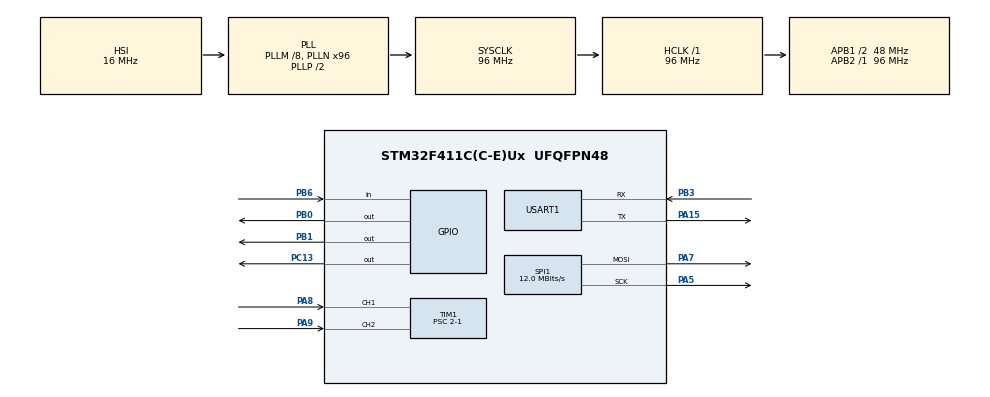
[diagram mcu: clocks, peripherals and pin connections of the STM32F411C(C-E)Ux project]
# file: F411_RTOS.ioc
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FREERTOS.Queues01=TimeQueue,16,32,1,Dynamic,NULL,NULL
FREERTOS.Tasks01=InputTask,40,128,StartInputTask,Default,NULL,Dynamic,NULL,NULL;MenuTask,32,512,StartMenuTask,Default,NULL,Dynamic,NULL,NULL;WIFITask,8,256,StartWIFITask,Default,NULL,Dynamic,NULL,NULL;TimeTask,8,256,StartTimeTask,Default,NULL,Dynamic,NULL,NULL
FREERTOS.configUSE_NEWLIB_REENTRANT=1
Mcu.Family=STM32F4
Mcu.Name=STM32F411C(C-E)Ux
Mcu.Package=UFQFPN48
NVIC.PriorityGroup=NVIC_PRIORITYGROUP_4
NVIC.TIM2_IRQn=true\:15\:0\:false\:false\:true\:false\:false\:true\:true
NVIC.TimeBase=TIM2_IRQn
NVIC.TimeBaseIP=TIM2
NVIC.USART1_IRQn=true\:5\:0\:false\:false\:true\:true\:true\:true\:true
PA13.Mode=Serial_Wire
PA13.Signal=SYS_JTMS-SWDIO
PA14.Mode=Serial_Wire
PA14.Signal=SYS_JTCK-SWCLK
PA15.Mode=Asynchronous
PA15.Signal=USART1_TX
PA5.Mode=TX_Only_Simplex_Unidirect_Master
PA5.Signal=SPI1_SCK
PA7.Mode=TX_Only_Simplex_Unidirect_Master
PA7.Signal=SPI1_MOSI
PA8.GPIO_PuPd=GPIO_PULLUP
PA8.GPIO_Speed=GPIO_SPEED_FREQ_LOW
PA8.Signal=S_TIM1_CH1
PA9.GPIO_PuPd=GPIO_PULLUP
PA9.GPIO_Speed=GPIO_SPEED_FREQ_LOW
PA9.Signal=S_TIM1_CH2
PB0.Signal=GPIO_Output
PB1.Signal=GPIO_Output
PB3.Mode=Asynchronous
PB3.Signal=USART1_RX
PB6.GPIO_PuPd=GPIO_PULLUP
PB6.Signal=GPIO_Input
PC13-ANTI_TAMP.GPIO_ModeDefaultOutputPP=GPIO_MODE_OUTPUT_OD
PC13-ANTI_TAMP.GPIO_PuPd=GPIO_PULLUP
PC13-ANTI_TAMP.PinState=GPIO_PIN_SET
PC13-ANTI_TAMP.Signal=GPIO_Output
PH0\ -\ OSC_IN.Mode=HSE-External-Oscillator
PH0\ -\ OSC_IN.Signal=RCC_OSC_IN
PH1\ -\ OSC_OUT.Mode=HSE-External-Oscillator
PH1\ -\ OSC_OUT.Signal=RCC_OSC_OUT
ProjectManager.HeapSize=0x200
ProjectManager.StackSize=0x400
ProjectManager.TargetToolchain=STM32CubeIDE
RCC.48MHZClocksFreq_Value=48000000
RCC.AHBFreq_Value=96000000
RCC.APB1CLKDivider=RCC_HCLK_DIV2
RCC.APB1Freq_Value=48000000
RCC.APB1TimFreq_Value=96000000
RCC.APB2Freq_Value=96000000
RCC.APB2TimFreq_Value=96000000
RCC.CortexFreq_Value=96000000
RCC.HCLKFreq_Value=96000000
RCC.HSE_VALUE=25000000
RCC.HSI_VALUE=16000000
RCC.LSE_VALUE=32768
RCC.PLLM=8
RCC.PLLN=96
RCC.SYSCLKFreq_VALUE=96000000
RCC.SYSCLKSource=RCC_SYSCLKSOURCE_PLLCLK
RCC.VCOOutputFreq_Value=192000000
SH.S_TIM1_CH1.0=TIM1_CH1,Encoder_Interface
SH.S_TIM1_CH2.0=TIM1_CH2,Encoder_Interface
SPI1.BaudRatePrescaler=SPI_BAUDRATEPRESCALER_8
SPI1.CalculateBaudRate=12.0 MBits/s
SPI1.Direction=SPI_DIRECTION_2LINES
SPI1.Mode=SPI_MODE_MASTER
SPI1.VirtualType=VM_MASTER
TIM1.EncoderMode=TIM_ENCODERMODE_TI1
TIM1.IC1Filter=15
TIM1.IC2Filter=15
TIM1.Prescaler=2-1
TIM1.RepetitionCounter=15
USART1.VirtualMode=VM_ASYNC
VP_FREERTOS_VS_CMSIS_V2.Mode=CMSIS_V2
VP_SYS_VS_tim2.Mode=TIM2
board=custom

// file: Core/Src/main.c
/* USER CODE BEGIN Header */
/**
  ******************************************************************************
  * @file           : main.c
  * @brief          : Main program body
  ******************************************************************************
  * @attention
  *
  * Copyright (c) 2025 STMicroelectronics.
  * All rights reserved.
  *
  * This software is licensed under terms that can be found in the LICENSE file
  * in the root directory of this software component.
  * If no LICENSE file comes with this software, it is provided AS-IS.
  *
  ******************************************************************************
  */
/* USER CODE END Header */
#include "main.h"
#include "cmsis_os.h"
#include "spi.h"
#include "tim.h"
#include "usart.h"
#include "gpio.h"

/* USER CODE BEGIN Includes */
#include "OLED.h"
#include "encoder_driver.h"
#include "MENU.h"
#include "config_store.h"
/* USER CODE END Includes */

void SystemClock_Config(void);
void MX_FREERTOS_Init(void);

int main(void)
{

  /* MCU Configuration--------------------------------------------------------*/

  /* Reset of all peripherals, Initializes the Flash interface and the Systick. */
  HAL_Init();

  /* Configure the system clock */
  SystemClock_Config();

  /* Initialize all configured peripherals */
  MX_GPIO_Init();
  MX_TIM1_Init();
  MX_USART1_UART_Init();
  MX_SPI1_Init();
  /* USER CODE BEGIN 2 */
  OLED_Init();
  Encoder_Init();
  Config_Load();
  OLED_SetBrightness(Config_Get()->brightness);
  OLED_Clear();
  OLED_Update();
  /* USER CODE END 2 */

  /* Init scheduler */
  osKernelInitialize();  /* Call init function for freertos objects (in cmsis_os2.c) */
  MX_FREERTOS_Init();

  /* Start scheduler */
  osKernelStart();

  /* We should never get here as control is now taken by the scheduler */

  /* Infinite loop */
  while (1)
  {

    /* USER CODE BEGIN 3 */
		MENU_RunMainMenu();
		HAL_Delay(10);
  }
  /* USER CODE END 3 */
}

void SystemClock_Config(void)
{
  RCC_OscInitTypeDef RCC_OscInitStruct = {0};
  RCC_ClkInitTypeDef RCC_ClkInitStruct = {0};

  /** Configure the main internal regulator output voltage
  */
  __HAL_RCC_PWR_CLK_ENABLE();
  __HAL_PWR_VOLTAGESCALING_CONFIG(PWR_REGULATOR_VOLTAGE_SCALE1);

  /** Initializes the RCC Oscillators according to the specified parameters
  * in the RCC_OscInitTypeDef structure.
  */
  RCC_OscInitStruct.OscillatorType = RCC_OSCILLATORTYPE_HSI;
  RCC_OscInitStruct.HSIState = RCC_HSI_ON;
  RCC_OscInitStruct.HSICalibrationValue = RCC_HSICALIBRATION_DEFAULT;
  RCC_OscInitStruct.PLL.PLLState = RCC_PLL_ON;
  RCC_OscInitStruct.PLL.PLLSource = RCC_PLLSOURCE_HSI;
  RCC_OscInitStruct.PLL.PLLM = 8;
  RCC_OscInitStruct.PLL.PLLN = 96;
  RCC_OscInitStruct.PLL.PLLP = RCC_PLLP_DIV2;
  RCC_OscInitStruct.PLL.PLLQ = 4;
  if (HAL_RCC_OscConfig(&RCC_OscInitStruct) != HAL_OK)
  {
    Error_Handler();
  }

  /** Initializes the CPU, AHB and APB buses clocks
  */
  RCC_ClkInitStruct.ClockType = RCC_CLOCKTYPE_HCLK|RCC_CLOCKTYPE_SYSCLK
                              |RCC_CLOCKTYPE_PCLK1|RCC_CLOCKTYPE_PCLK2;
  RCC_ClkInitStruct.SYSCLKSource = RCC_SYSCLKSOURCE_PLLCLK;
  RCC_ClkInitStruct.AHBCLKDivider = RCC_SYSCLK_DIV1;
  RCC_ClkInitStruct.APB1CLKDivider = RCC_HCLK_DIV2;
  RCC_ClkInitStruct.APB2CLKDivider = RCC_HCLK_DIV1;

  if (HAL_RCC_ClockConfig(&RCC_ClkInitStruct, FLASH_LATENCY_3) != HAL_OK)
  {
    Error_Handler();
  }
}

void HAL_TIM_PeriodElapsedCallback(TIM_HandleTypeDef *htim)
{
  if (htim->Instance == TIM2)
  {
    HAL_IncTick();
  }
}

void Error_Handler(void)
{
  __disable_irq();
  while (1)
  {
  }
}

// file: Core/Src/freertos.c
/* USER CODE BEGIN Header */
/**
  ******************************************************************************
  * File Name          : freertos.c
  * Description        : Code for freertos applications
  ******************************************************************************
  * @attention
  *
  * Copyright (c) 2025 STMicroelectronics.
  * All rights reserved.
  *
  * This software is licensed under terms that can be found in the LICENSE file
  * in the root directory of this software component.
  * If no LICENSE file comes with this software, it is provided AS-IS.
  *
  ******************************************************************************
  */
/* USER CODE END Header */

#include "FreeRTOS.h"
#include "task.h"
#include "main.h"
#include "cmsis_os.h"

/* USER CODE BEGIN Includes */
#include "input.h"
#include "MENU.h"
#include "OLED.h"
#include "esp_driver.h"
#include "app_events.h"
#include "wifi_task.h"
#include "time_task.h"
/* USER CODE END Includes */

/* USER CODE BEGIN Variables */
/* 输入事件队列 - 在 USER CODE 区域定义，不会被 CubeMX 覆盖 */
osMessageQueueId_t InputEventQueueHandle;
static const osMessageQueueAttr_t InputEventQueue_attributes = {
  .name = "InputEventQueue"
};

/* App 事件标志：用于 WiFi 启动完成后再进入菜单 */
osEventFlagsId_t g_appEventFlags;
static const osEventFlagsAttr_t g_appEventFlags_attr = {
  .name = "AppEventFlags"
};
/* USER CODE END Variables */
/* Definitions for InputTask */
osThreadId_t InputTaskHandle;
const osThreadAttr_t InputTask_attributes = {
  .name = "InputTask",
  .stack_size = 128 * 4,
  .priority = (osPriority_t) osPriorityHigh,
};
/* Definitions for MenuTask */
osThreadId_t MenuTaskHandle;
const osThreadAttr_t MenuTask_attributes = {
  .name = "MenuTask",
  .stack_size = 512 * 4,
  .priority = (osPriority_t) osPriorityAboveNormal,
};
/* Definitions for WIFITask */
osThreadId_t WIFITaskHandle;
const osThreadAttr_t WIFITask_attributes = {
  .name = "WIFITask",
  .stack_size = 256 * 4,
  .priority = (osPriority_t) osPriorityLow,
};
/* Definitions for TimeTask */
osThreadId_t TimeTaskHandle;
const osThreadAttr_t TimeTask_attributes = {
  .name = "TimeTask",
  .stack_size = 256 * 4,
  .priority = (osPriority_t) osPriorityLow,
};
/* Definitions for TimeQueue */
osMessageQueueId_t TimeQueueHandle;
const osMessageQueueAttr_t TimeQueue_attributes = {
  .name = "TimeQueue"
};

/* USER CODE BEGIN FunctionPrototypes */
extern void WIFITask_Entry(void *argument);
/* USER CODE END FunctionPrototypes */

void StartInputTask(void *argument);
void StartMenuTask(void *argument);
void StartWIFITask(void *argument);
void StartTimeTask(void *argument);

void MX_FREERTOS_Init(void); /* (MISRA C 2004 rule 8.1) */

void MX_FREERTOS_Init(void) {

  /* Create the queue(s) */
  /* creation of TimeQueue */
  TimeQueueHandle = osMessageQueueNew (16, 32, &TimeQueue_attributes);

  /* USER CODE BEGIN RTOS_QUEUES */
  /* 创建输入事件队列 - 使用 sizeof(InputEvent) 确保大小正确 */
  InputEventQueueHandle = osMessageQueueNew(16, sizeof(InputEvent), &InputEventQueue_attributes);
  /* 创建事件标志（必须在任务创建之前！）*/
  g_appEventFlags = osEventFlagsNew(&g_appEventFlags_attr);
  /* USER CODE END RTOS_QUEUES */

  /* Create the thread(s) */
  /* creation of InputTask */
  InputTaskHandle = osThreadNew(StartInputTask, NULL, &InputTask_attributes);

  /* creation of MenuTask */
  MenuTaskHandle = osThreadNew(StartMenuTask, NULL, &MenuTask_attributes);

  /* creation of WIFITask */
  WIFITaskHandle = osThreadNew(StartWIFITask, NULL, &WIFITask_attributes);

  /* creation of TimeTask */
  TimeTaskHandle = osThreadNew(StartTimeTask, NULL, &TimeTask_attributes);

  /* USER CODE BEGIN RTOS_EVENTS */
  /* 事件标志已在 RTOS_QUEUES 区域创建 */
  /* USER CODE END RTOS_EVENTS */

}

void StartInputTask(void *argument)
{
  /* USER CODE BEGIN StartInputTask */
  /* Infinite loop */
  for(;;)
  {
	InputEvent event = Input_GetEvent();
    if(event.type != INPUT_NONE)
    {
      // 发送事件到队列，Menu任务会接收
      osMessageQueuePut(InputEventQueueHandle, &event, 0, 0);
    }
    osDelay(10);
  }
  /* USER CODE END StartInputTask */
}

void StartMenuTask(void *argument)
{
  /* USER CODE BEGIN StartMenuTask */
  UI_State ui_state = UI_MENU;
  /* 等待 WiFi 启动阶段结束（成功/失败都会置位），避免菜单抢占启动提示 */
  if (g_appEventFlags) {
    uint32_t flags = osEventFlagsWait(g_appEventFlags,
                                     APP_EVT_WIFI_DONE,
                                     osFlagsWaitAny | osFlagsNoClear,  // 不清除标志，让其他任务也能读到
                                     30000);
    (void)flags;
  }
  /* Infinite loop */
  for(;;)
  {
    if (ui_state == UI_CLOCK) {
      CLOCK_Draw();
      if (InputEventQueueHandle) {
        InputEvent event;
        uint8_t enter_pressed = 0;

        while (osMessageQueueGet(InputEventQueueHandle, &event, NULL, 0) == osOK) {
          if (event.type != INPUT_NONE) {
            MENU_UpdateActivity(); /* 有输入就算“活动”，顺便可唤醒屏幕 */
          }
          if (event.type == INPUT_ENTER) {
            enter_pressed = 1;
          }
        }

        if (enter_pressed) {
          ui_state = UI_MENU;
        }
      }
    } else if (ui_state == UI_MENU) {
      {
        InputEvent discard;
        while (osMessageQueueGet(InputEventQueueHandle, &discard, NULL, 0) == osOK);
      }
      MENU_RunMainMenu();
      ui_state = UI_CLOCK;
    }
    osDelay(10);
  }
  /* USER CODE END StartMenuTask */
}

void StartWIFITask(void *argument)
{
  /* USER CODE BEGIN StartWIFITask */
  WIFITask_Entry(argument);
  /* USER CODE END StartWIFITask */
}

void StartTimeTask(void *argument)
{
  /* USER CODE BEGIN StartTimeTask */
  bool sntp_ok = false;

  /* 等待 WiFi 连接完成 */
  if (g_appEventFlags) {
    uint32_t flags = osEventFlagsWait(g_appEventFlags,
                                     APP_EVT_WIFI_OK,
                                     osFlagsWaitAny | osFlagsNoClear,  // 不清除标志
                                     60000);

    if ((flags & osFlagsError) || !(flags & APP_EVT_WIFI_OK)) {
      // WiFi 连接失败或超时，通知 SNTP 失败并退出
      goto sntp_exit;
    }
  }

  /* 配置 SNTP */
  if (SNTP_Config()) {
    sntp_ok = true;
    WIFI_MQTT_Publish("RADAR/TIME", "SNTP Config Success");
  }

sntp_exit:
  /* 通知其他任务：SNTP 阶段已结束 */
  if (g_appEventFlags) {
    uint32_t set = APP_EVT_SNTP_DONE | (sntp_ok ? APP_EVT_SNTP_OK : 0U);
    osEventFlagsSet(g_appEventFlags, set);
  }
  if (!sntp_ok) {
    WIFI_MQTT_Publish("RADAR/TIME", "SNTP Config Failed");
    osThreadExit();
  }
  SNTP_Time_t current_time;
  char time_str[32] = {0};

  /* Infinite loop - 每 10 秒上传一次时间 */
  for(;;)
  {
    if (SNTP_GetTime(&current_time)) {
      /* 发送结构体到队列供 MENU 使用 */
      osMessageQueuePut(TimeQueueHandle, &current_time, 0, 0);

      /* 同时也格式化成字符串发给 MQTT */
      if (SNTP_GetTimeString(time_str, sizeof(time_str))) {
        WIFI_MQTT_Publish("RADAR/TIME", time_str);
      }
    } else {
      WIFI_MQTT_Publish("RADAR/TIME", "Get Time Failed");
    }
    osDelay(10000);  // 10 秒
  }
  /* USER CODE END StartTimeTask */
}
